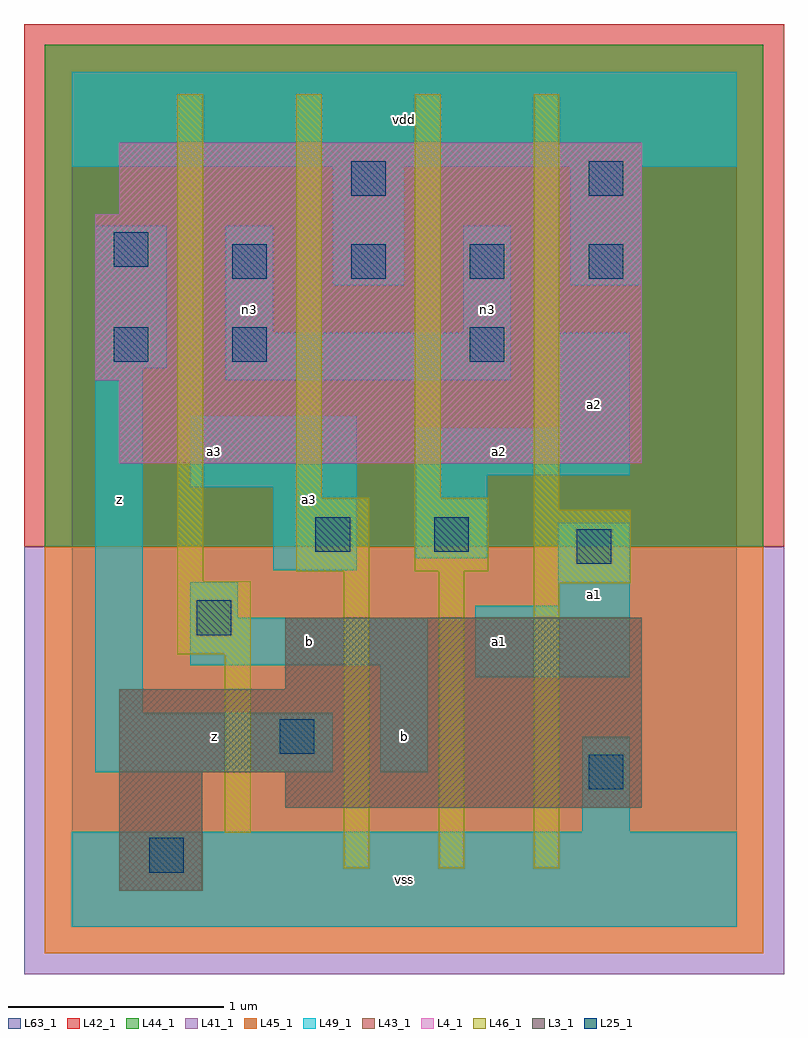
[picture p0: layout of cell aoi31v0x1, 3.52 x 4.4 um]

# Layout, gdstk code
import gdstk
lib = gdstk.Library(unit=1e-6, precision=1e-09)
def R(c, l, rs):  # rectangles x0, y0, x1, y1
    for r in rs: c.add(gdstk.rectangle(r[:2], r[2:], *l))
def A(c, l, x, y, w, h, nx, ny, dx, dy):  # array of equal rectangles
    R(c, l, [(x+i*dx, y+j*dy, x+i*dx+w, y+j*dy+h) for i in range(nx) for j in range(ny)])
L3_1 = (3, 1)
L4_1 = (4, 1)
L25_1 = (25, 1)
L41_1 = (41, 1)
L42_1 = (42, 1)
L43_1 = (43, 1)
L44_1 = (44, 1)
L45_1 = (45, 1)
L46_1 = (46, 1)
L49_1 = (49, 1)
L63_1 = (63, 1)

aoi31v0x1 = lib.new_cell('aoi31v0x1')
R(aoi31v0x1, L3_1, [(0.22,0.165,0.605,0.715), (0.99,0.55,2.64,0.715), (0.22,0.715,2.64,1.1), (0.99,1.1,2.64,1.43)])
R(aoi31v0x1, L4_1, [(0.22,2.145,2.64,2.53), (0.11,2.53,2.64,3.3), (0.22,3.3,2.64,3.63)])
A(aoi31v0x1, L25_1, 0.745, 3, 0.16, 0.16, 4, 1, 0.55, 0)
R(aoi31v0x1, L25_1, [(0.36,0.25,0.52,0.41), (2.395,0.635,2.555,0.795), (0.965,0.8,1.125,0.96), (0.58,1.35,0.74,1.51), (2.34,1.68,2.5,1.84), (1.13,1.735,1.29,1.895), (1.68,1.735,1.84,1.895), (0.195,2.615,0.355,2.775), (0.745,2.615,0.905,2.775), (1.845,2.615,2.005,2.775), (0.195,3.055,0.355,3.215), (1.295,3.385,1.455,3.545), (2.395,3.385,2.555,3.545)])
R(aoi31v0x1, L41_1, [(-0.22,-0.22,3.3,1.76)])
R(aoi31v0x1, L42_1, [(-0.22,1.76,3.3,4.18)])
R(aoi31v0x1, L43_1, [(0.22,0.165,0.605,0.715), (0.99,0.55,2.64,0.715), (0.22,0.715,2.64,1.1), (0.99,1.1,2.64,1.43), (0.22,2.145,2.64,2.53), (0.11,2.53,2.64,3.3), (0.22,3.3,2.64,3.63)])
R(aoi31v0x1, L44_1, [(-0.125,1.76,3.205,4.085)])
R(aoi31v0x1, L45_1, [(-0.125,-0.125,3.205,1.76)])
R(aoi31v0x1, L46_1, [(1.26,0.27,1.38,1.645), (1.7,0.27,1.82,1.645), (2.14,0.27,2.26,1.59), (0.71,0.435,0.83,1.26), (0.49,1.26,0.83,1.6), (2.14,1.59,2.59,1.93), (0.49,1.6,0.61,3.855), (1.04,1.645,1.38,1.985), (1.59,1.645,1.93,1.985), (2.14,1.93,2.26,3.855), (1.04,1.985,1.16,3.855), (1.59,1.985,1.71,3.855)])
R(aoi31v0x1, L49_1, [(0,0,3.08,0.44), (2.365,0.44,2.585,0.88), (0.11,0.715,1.21,0.99), (1.43,0.715,1.65,1.21), (0.11,0.99,0.33,2.585), (1.87,1.155,2.585,1.485), (0.55,1.21,1.65,1.43), (0.55,1.43,0.77,1.595), (2.255,1.485,2.585,1.87), (0.935,1.65,1.32,2.035), (1.595,1.705,1.925,2.09), (0.55,2.035,1.32,2.365), (1.595,2.09,2.585,2.31), (2.255,2.31,2.585,2.75), (0.715,2.53,2.035,2.75), (0.11,2.585,0.44,3.245), (0.715,2.75,0.935,3.245), (1.815,2.75,2.035,3.245), (1.21,2.97,1.54,3.52), (2.31,2.97,2.64,3.52), (0,3.52,3.08,3.96)])
R(aoi31v0x1, L63_1, [(0,0,3.08,3.96)])
aoi31v0x1.add(gdstk.Label('z', (0.22,1.98), layer=49, texttype=1))
aoi31v0x1.add(gdstk.Label('z', (0.66,0.88), layer=49, texttype=1))
aoi31v0x1.add(gdstk.Label('b', (1.1,1.32), layer=49, texttype=1))
aoi31v0x1.add(gdstk.Label('a3', (1.1,1.98), layer=49, texttype=1))
aoi31v0x1.add(gdstk.Label('a3', (0.66,2.2), layer=49, texttype=1))
aoi31v0x1.add(gdstk.Label('n3', (0.825,2.86), layer=49, texttype=1))
aoi31v0x1.add(gdstk.Label('vss', (1.54,0.22), layer=49, texttype=1))
aoi31v0x1.add(gdstk.Label('b', (1.54,0.88), layer=49, texttype=1))
aoi31v0x1.add(gdstk.Label('a1', (1.98,1.32), layer=49, texttype=1))
aoi31v0x1.add(gdstk.Label('a2', (1.98,2.2), layer=49, texttype=1))
aoi31v0x1.add(gdstk.Label('n3', (1.925,2.86), layer=49, texttype=1))
aoi31v0x1.add(gdstk.Label('vdd', (1.54,3.74), layer=49, texttype=1))
aoi31v0x1.add(gdstk.Label('a1', (2.42,1.54), layer=49, texttype=1))
aoi31v0x1.add(gdstk.Label('a2', (2.42,2.42), layer=49, texttype=1))

lib.write_gds('aoi31v0x1.gds')
